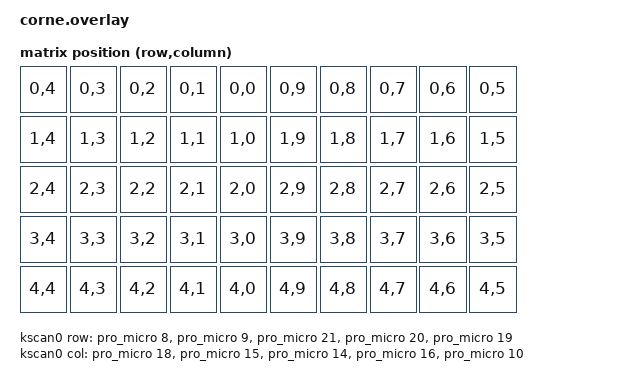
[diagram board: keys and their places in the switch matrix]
#include <dt-bindings/led/led.h>
#include <dt-bindings/zmk/matrix_transform.h>

&pinctrl {
    spi3_default: spi3_default {
        group1 {
            psels = <NRF_PSEL(SPIM_MOSI, 0, 11)>;
        };
    };

    spi3_sleep: spi3_sleep {
        group1 {
            psels = <NRF_PSEL(SPIM_MOSI, 0, 11)>;
            low-power-enable;
        };
    };
};

&spi3 {
    compatible = "nordic,nrf-spim";
    status = "okay";

    pinctrl-0 = <&spi3_default>;
    pinctrl-1 = <&spi3_sleep>;
    pinctrl-names = "default", "sleep";

    led_strip: ws2812@0 {
        compatible = "worldsemi,ws2812-spi";

        /* SPI */
        reg = <0>; /* ignored, but necessary for SPI bindings */
        spi-max-frequency = <4000000>;

        /* WS2812 */
        chain-length = <26>; /* arbitrary; change at will */
        spi-one-frame = <0x70>;
        spi-zero-frame = <0x40>;

        color-mapping = <LED_COLOR_ID_GREEN LED_COLOR_ID_RED LED_COLOR_ID_BLUE>;
    };
};

&kscan0 {
    compatible = "zmk,kscan-gpio-matrix";
    wakeup-source;

    diode-direction = "col2row";
    row-gpios
        = <&pro_micro 8 (GPIO_ACTIVE_HIGH | GPIO_PULL_DOWN)>
        , <&pro_micro 9 (GPIO_ACTIVE_HIGH | GPIO_PULL_DOWN)>
        , <&pro_micro 21 (GPIO_ACTIVE_HIGH | GPIO_PULL_DOWN)>
        , <&pro_micro 20 (GPIO_ACTIVE_HIGH | GPIO_PULL_DOWN)>
        , <&pro_micro 19 (GPIO_ACTIVE_HIGH | GPIO_PULL_DOWN)>
        ; 
    col-gpios
        = <&pro_micro 18 GPIO_ACTIVE_HIGH>
        , <&pro_micro 15 GPIO_ACTIVE_HIGH>
        , <&pro_micro 14 GPIO_ACTIVE_HIGH>
        , <&pro_micro 16 GPIO_ACTIVE_HIGH>
        , <&pro_micro 10 GPIO_ACTIVE_HIGH>
        ;
};


/ {
    chosen {
        zmk,underglow = &led_strip;
        zmk,kscan = &kscan0;
        zmk,matrix-transform = &default_transform;
    };
    
    default_transform: matrix_transform1 {
    compatible = "zmk,matrix-transform";
    rows = <5>;
    columns = <10>;

    map = <
        RC(0,4) RC(0,3) RC(0,2) RC(0,1)  RC(0,0) RC(0,9) RC(0,8) RC(0,7) RC(0,6) RC(0,5)
        RC(1,4) RC(1,3) RC(1,2) RC(1,1)  RC(1,0) RC(1,9) RC(1,8) RC(1,7) RC(1,6) RC(1,5)
        RC(2,4) RC(2,3) RC(2,2) RC(2,1)  RC(2,0) RC(2,9) RC(2,8) RC(2,7) RC(2,6) RC(2,5)
        RC(3,4) RC(3,3) RC(3,2) RC(3,1)  RC(3,0) RC(3,9) RC(3,8) RC(3,7) RC(3,6) RC(3,5)
        RC(4,4) RC(4,3) RC(4,2) RC(4,1)  RC(4,0) RC(4,9) RC(4,8) RC(4,7) RC(4,6) RC(4,5)
    >;
};
};

&pro_micro_i2c {
    status = "okay";

    oled_128x64: ssd1306@3c {
        compatible = "solomon,ssd1306fb";
        reg = <0x3c>;
        width = <128>;
        height = <64>;
        segment-offset = <0>;
        page-offset = <0>;
        display-offset = <0>;
        multiplex-ratio = <63>;
        inversion-on;
        prechargep = <0x22>;
    };
};
/ {
    chosen {
        zephyr,display = &oled_128x64;
    };
};
/*
// 128x64 OLED
&pro_micro_i2c {
    status = "okay";

    oled: ssd1306@3c {
        compatible = "solomon,ssd1306fb";
        reg = <0x3c>;
        width = <128>;
        height = <64>;
        segment-offset = <0>;
        page-offset = <0>;
        display-offset = <0>;
        multiplex-ratio = <63>;
        segment-remap;
        com-invdir;
        inversion-on;
        prechargep = <0x22>;
    };
};
// 128x32 OLED
&pro_micro_i2c {
    status = "okay";

    oled: ssd1306@3c {
        compatible = "solomon,ssd1306fb";
        reg = <0x3c>;
        width = <128>;
        height = <32>;
        segment-offset = <0>;
        page-offset = <0>;
        display-offset = <0>;
        multiplex-ratio = <31>;
        segment-remap;
        com-invdir;
        com-sequential;
        inversion-on;
        prechargep = <0x22>;
    };
};

// 128x64 OLED model sh1106

&pro_micro_i2c {
    status = "okay";
    oled: sh1106@3c {
        compatible = "sinowealth,sh1106";
        reg = <0x3c>;
        width = <129>;
        height = <64>;
        segment-offset = <1>;
        page-offset = <0>;
        display-offset = <0>;
        multiplex-ratio = <63>;
        segment-remap;
        com-invdir;
        inversion-on;
        prechargep = <0x22>;
        };
};

// 128x128 OLED model sh1107
&pro_micro_i2c {
    status = "okay";
    oled: sh1106@3c {
        compatible = "sinowealth,sh1106";
        reg = <0x3c>;
        width = <120>;
        height = <128>;
        segment-offset = <0>;
        page-offset = <0>;
        display-offset = <0>;
        multiplex-ratio = <119>;
        segment-remap;
        com-invdir;
        inversion-on;
        prechargep = <0x22>;
        };
};


/ {
    chosen {
        zephyr,display = &oled_128x64;
    };
};
*/

